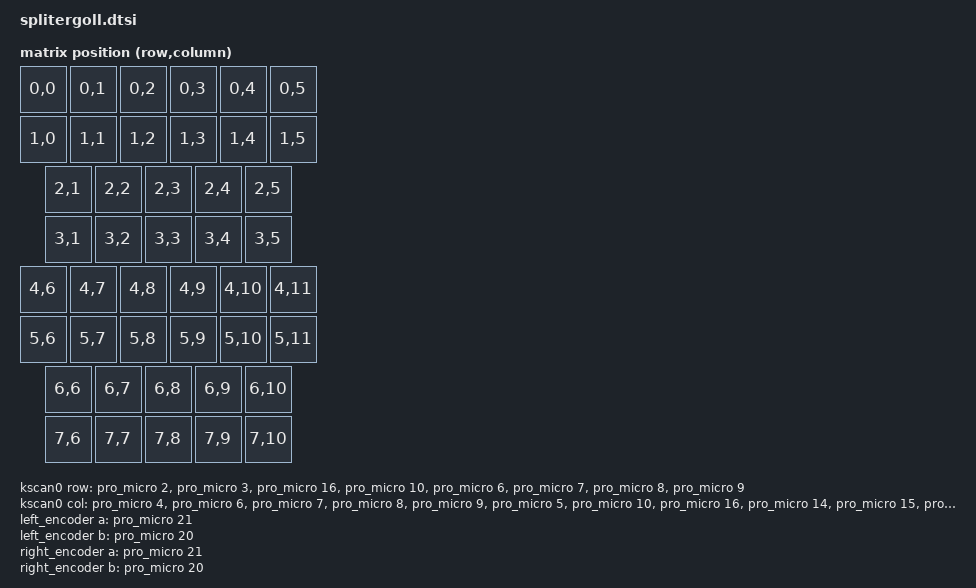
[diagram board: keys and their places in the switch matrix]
#include <dt-bindings/zmk/matrix_transform.h>

/ {
    chosen {
        zmk,kscan = &kscan0;
        zmk,matrix-transform = &default_transform;
        zmk,battery = &vbatt;
    };

    default_transform: keymap_transform_0 {
        compatible = "zmk,matrix-transform";
        columns = <12>;
        rows = <8>;
        map = <
            RC(0,0)     RC(0,1)     RC(0,2)     RC(0,3)     RC(0,4)     RC(0,5)
            RC(1,0)     RC(1,1)     RC(1,2)     RC(1,3)     RC(1,4)     RC(1,5)
                        RC(2,1)     RC(2,2)     RC(2,3)     RC(2,4)     RC(2,5)
                        RC(3,1)     RC(3,2)     RC(3,3)     RC(3,4)     RC(3,5)

                                                                                        RC(4,6)     RC(4,7)     RC(4,8)     RC(4,9)     RC(4,10)     RC(4,11)
                                                                                        RC(5,6)     RC(5,7)     RC(5,8)     RC(5,9)     RC(5,10)     RC(5,11)
                                                                                        RC(6,6)     RC(6,7)     RC(6,8)     RC(6,9)     RC(6,10)
                                                                                        RC(7,6)     RC(7,7)     RC(7,8)     RC(7,9)     RC(7,10)
        >;
    };

    kscan0: kscan {
        compatible = "zmk,kscan-gpio-matrix";
        diode-direction = "col2row";

        col-gpios
            = <&pro_micro 4 GPIO_ACTIVE_HIGH>
            , <&pro_micro 6 GPIO_ACTIVE_HIGH>
            , <&pro_micro 7 GPIO_ACTIVE_HIGH>
            , <&pro_micro 8 GPIO_ACTIVE_HIGH>
            , <&pro_micro 9 GPIO_ACTIVE_HIGH>
            , <&pro_micro 5 GPIO_ACTIVE_HIGH>

            , <&pro_micro 10 GPIO_ACTIVE_HIGH>
            , <&pro_micro 16 GPIO_ACTIVE_HIGH>
            , <&pro_micro 14 GPIO_ACTIVE_HIGH>
            , <&pro_micro 15 GPIO_ACTIVE_HIGH>
            , <&pro_micro 18 GPIO_ACTIVE_HIGH>
            , <&pro_micro 19 GPIO_ACTIVE_HIGH>
        ;

        row-gpios
            = <&pro_micro 2 (GPIO_ACTIVE_HIGH | GPIO_PULL_DOWN)>
            , <&pro_micro 3 (GPIO_ACTIVE_HIGH | GPIO_PULL_DOWN)>
            , <&pro_micro 16 (GPIO_ACTIVE_HIGH | GPIO_PULL_DOWN)>
            , <&pro_micro 10 (GPIO_ACTIVE_HIGH | GPIO_PULL_DOWN)>
            
            , <&pro_micro 6 (GPIO_ACTIVE_HIGH | GPIO_PULL_DOWN)>
            , <&pro_micro 7 (GPIO_ACTIVE_HIGH | GPIO_PULL_DOWN)>
            , <&pro_micro 8 (GPIO_ACTIVE_HIGH | GPIO_PULL_DOWN)>
            , <&pro_micro 9 (GPIO_ACTIVE_HIGH | GPIO_PULL_DOWN)>
        ;
    };

    left_encoder: encoder_left {
        compatible = "alps,ec11";
        a-gpios = <&pro_micro 21 (GPIO_ACTIVE_HIGH | GPIO_PULL_UP)>;
        b-gpios = <&pro_micro 20 (GPIO_ACTIVE_HIGH | GPIO_PULL_UP)>;
        steps = <18>;
        status = "disabled";
    };

    right_encoder: encoder_right {
        compatible = "alps,ec11";
        a-gpios = <&pro_micro 21 (GPIO_ACTIVE_HIGH | GPIO_PULL_UP)>;
        b-gpios = <&pro_micro 20 (GPIO_ACTIVE_HIGH | GPIO_PULL_UP)>;
        steps = <18>;
        status = "disabled";
    };

    left_vbatt: left_vbatt {
        compatible = "zmk,battery-nrf-vddh";
    };
    
    right_vbatt: right_vbatt {
        compatible = "zmk,battery-nrf-vddh";
    };

    sensors: sensors {
        compatible = "zmk,keymap-sensors";
        sensors = <&left_encoder &right_encoder>;
        triggers-per-rotation = <9>;
    };
};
